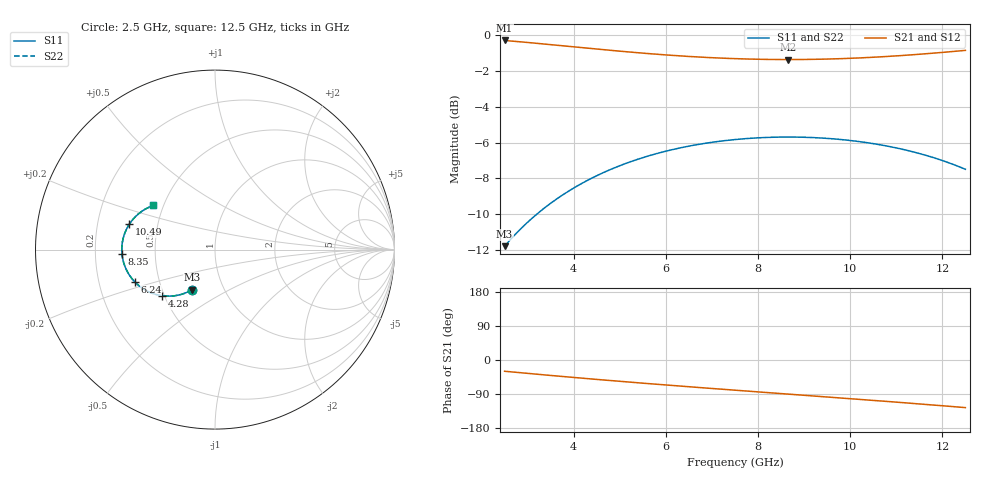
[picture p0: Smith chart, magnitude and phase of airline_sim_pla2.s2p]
! TOUCHSTONE file generated by CST MICROWAVE STUDIO
! Date and time: Thu Apr 20 23:39:49 2023
! Project name: airline_sim.cst
! Header version: 2018
! Port assignment regex: !\s*Touchstone port\s*([0-9]+)\s*=\s*(CST MWS port|CST DS port)\s*([0-9]+|Zmin|Zmax)\s*\(\"(.*)\"\)(\s*mode\s*([0-9]+))?.*
! Touchstone port assignment:
! Touchstone port 1 = CST MWS port 1 ("")
! Touchstone port 2 = CST MWS port 2 ("")
# GHz S MA R 50
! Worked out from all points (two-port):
!   1001 points, 2.5 GHz to 12.5 GHz, reference 50 ohm
!   highest |S21| = -0.30 dB at 2.5 GHz (marker M1); lowest = -1.4 dB at 8.65 GHz (marker M2)
!   |S21| within 3 dB of the highest: start of sweep to end of sweep
!   lowest |S11| = -11.8 dB at 2.5 GHz (marker M3), VSWR 1.69, Z = 35.3 - j16.9 ohm
!   |S11| at or under -10 dB: start of sweep to 3.199 GHz
!   |S22| runs from -11.8 to -5.7 dB; largest |S21 - S12| = 2.1e-06
!   S11 on the Smith chart (normalised r, x): 2.5 GHz: 0.71, -0.34; 4.28 GHz: 0.48, -0.29; 6.24 GHz: 0.36, -0.17; 8.35 GHz: 0.32, -0.02; 10.49 GHz: 0.34, +0.13; 12.5 GHz: 0.44, +0.26
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2.5  0.2574 -119.8  0.9663 -29.7  0.9663 -29.7  0.2574 -119.6
2.93  0.2945 -124.6  0.9557 -34.5  0.9557 -34.5  0.2945 -124.5
3.3  0.3241 -128.7  0.946 -38.6  0.946 -38.6  0.3241 -128.6
3.72  0.3551 -133.2  0.9348 -43.1  0.9348 -43.1  0.3551 -133.1
4.17  0.3851 -137.9  0.9229 -47.9  0.9229 -47.9  0.3851 -137.8
4.28  0.3919 -139.0  0.92 -49.0  0.92 -49.0  0.3919 -139.0
4.65  0.4135 -142.8  0.9105 -52.8  0.9105 -52.8  0.4135 -142.7
5.03  0.4334 -146.6  0.9012 -56.6  0.9012 -56.6  0.4334 -146.5
5.84  0.4683 -154.4  0.8835 -64.4  0.8835 -64.4  0.4683 -154.4
6.24  0.4821 -158.2  0.8761 -68.2  0.8761 -68.2  0.4821 -158.2
6.87  0.4992 -164.0  0.8665 -74.0  0.8665 -74.0  0.4992 -164.0
7.5  0.5109 -169.7  0.8596 -79.7  0.8596 -79.7  0.5109 -169.7
7.93  0.516 -173.6  0.8566 -83.6  0.8566 -83.6  0.516 -173.5
8.35  0.5187 -177.3  0.8549 -87.3  0.8549 -87.3  0.5187 -177.3
8.65  0.5193 -180.0  0.8546 -90.0  0.8546 -90.0  0.5193 -180.0
9.17  0.5176 175.4  0.8556 -94.6  0.8556 -94.6  0.5176 175.4
9.83  0.5106 169.5  0.8598 -100.5  0.8598 -100.5  0.5106 169.5
10.49  0.498 163.5  0.8672 -106.5  0.8672 -106.5  0.498 163.5
10.84  0.4889 160.3  0.8723 -109.7  0.8723 -109.7  0.4889 160.3
11.68  0.4601 152.4  0.8878 -117.6  0.8878 -117.6  0.4601 152.4
12.12  0.441 148.1  0.8975 -121.9  0.8975 -121.9  0.441 148.1
12.5  0.422 144.4  0.9066 -125.6  0.9066 -125.6  0.422 144.3
